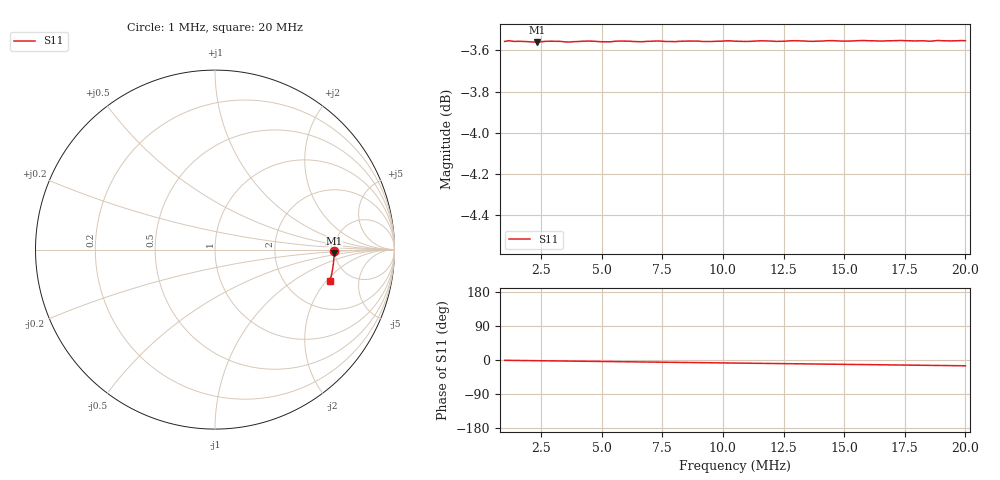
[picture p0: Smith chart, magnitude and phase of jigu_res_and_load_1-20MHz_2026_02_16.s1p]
# HZ S RI R 50
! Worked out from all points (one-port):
!   101 points, 1 MHz to 20 MHz, reference 50 ohm
!   lowest |S11| = -3.6 dB at 2.33 MHz (marker M1), VSWR 4.95, Z = 246 - j18.8 ohm
!   |S11| at or under -10 dB: nowhere
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1000000  0.664 -0.00958
1190000  0.6642 -0.011
1380000  0.6639 -0.0132
1760000  0.6638 -0.0162
2330000  0.6634 -0.0214
2900000  0.6636 -0.0264
3470000  0.6631 -0.0313
4420000  0.663 -0.0398
4990000  0.6624 -0.0446
5750000  0.6622 -0.0515
6320000  0.6616 -0.0563
6890000  0.6612 -0.0616
7270000  0.661 -0.0648
7650000  0.6605 -0.0679
8220000  0.66 -0.0732
9930000  0.6582 -0.0882
1.05e7  0.6576 -0.0929
1.297e7  0.6543 -0.1146
1.373e7  0.6529 -0.1211
1.449e7  0.6519 -0.1277
1.525e7  0.6505 -0.1344
1.582e7  0.6496 -0.1393
1.62e7  0.6488 -0.1424
1.677e7  0.6477 -0.1475
1.772e7  0.6458 -0.1555
1.848e7  0.6441 -0.162
1.886e7  0.6435 -0.1653
2e7  0.6408 -0.175
